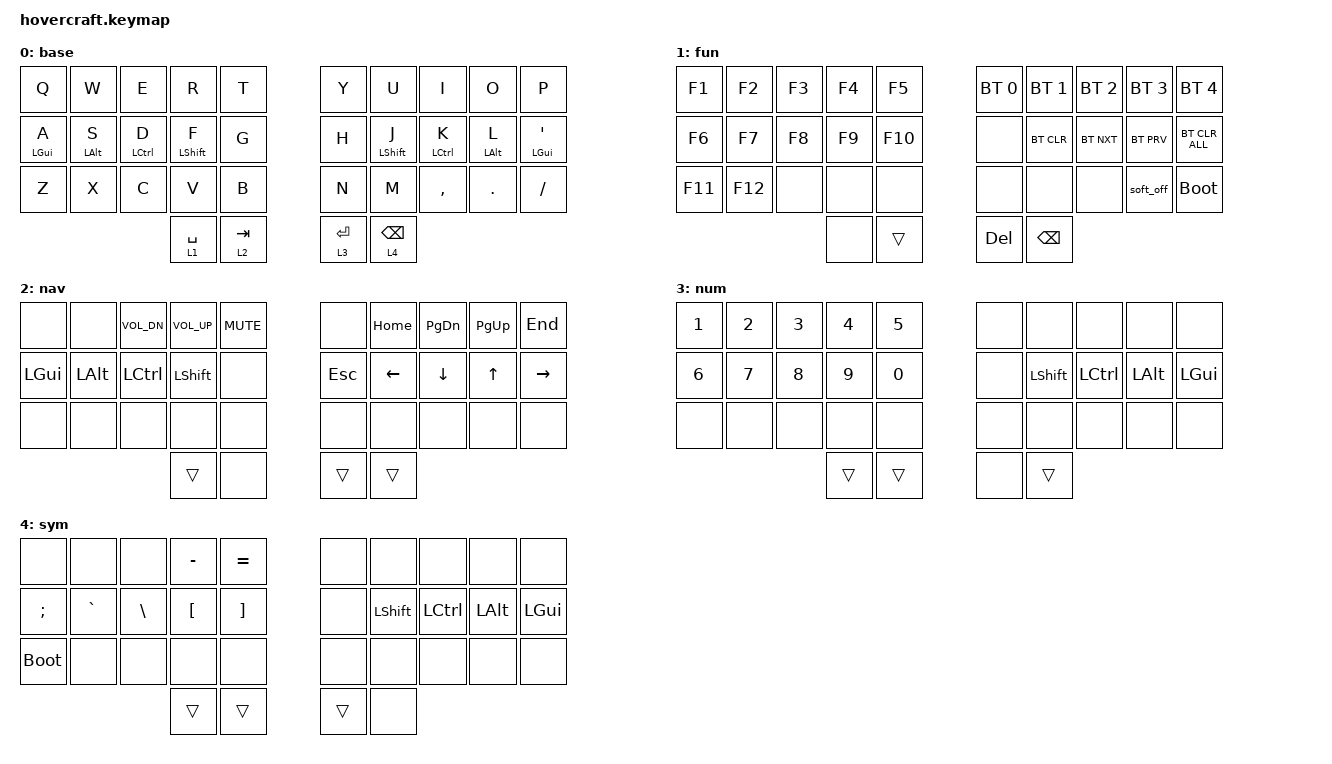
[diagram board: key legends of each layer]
/*
 * Copyright (c) 2025 The ZMK Contributors
 *
 * SPDX-License-Identifier: MIT
 */

/* layout: {ortho_layout: {split: true, rows: 3, columns: 5, thumbs: 2}} */


#include <behaviors.dtsi>
#include <dt-bindings/zmk/keys.h>
#include <dt-bindings/zmk/bt.h>

&soft_off {
    hold-time-ms = <5000>; // Only turn off it the key is held for 5 seconds or longer.
};

/ {
    keymap {
        compatible = "zmk,keymap";

        base {
            bindings = <
                &kp Q       &kp W       &kp E       &kp R        &kp T              &kp Y           &kp U           &kp I           &kp O           &kp P
                &mt LGUI A  &mt LALT S  &mt LCTRL D &mt LSHFT F  &kp G              &kp H           &mt LSHFT J     &mt LCTRL K     &mt LALT L      &mt LGUI SQT
                &kp Z       &kp X       &kp C       &kp V        &kp B              &kp N           &kp M           &kp COMMA       &kp DOT         &kp SLASH
                                                    &lt 1 SPACE  &lt 2 TAB          &lt 3 ENTER     &lt 4 BSPC
            >;
        };

        fun {
            bindings = <
                &kp F1      &kp F2      &kp F3      &kp F4      &kp F5              &bt BT_SEL 0    &bt BT_SEL 1    &bt BT_SEL 2    &bt BT_SEL 3    &bt BT_SEL 4
                &kp F6      &kp F7      &kp F8      &kp F9      &kp F10             &none           &bt BT_CLR      &bt BT_NXT      &bt BT_PRV      &bt BT_CLR_ALL
                &kp F11     &kp F12     &none       &none       &none               &none           &none           &none           &soft_off       &bootloader
                                                    &none       &trans              &kp DEL         &kp BSPC
            >;
        };

        nav {
            bindings = <
                &none       &none       &kp C_VOL_DN    &kp C_VOL_UP    &kp C_MUTE          &none           &kp HOME        &kp PG_DN       &kp PG_UP       &kp END
                &kp LGUI    &kp LALT    &kp LCTRL       &kp LSHFT       &none               &kp ESC         &kp LEFT        &kp DOWN        &kp UP          &kp RIGHT
                &none       &none       &none           &none           &none               &none           &none           &none           &none           &none
                                                        &trans          &none               &trans          &trans 
            >;
        };

        num {
            bindings = <
                &kp N1      &kp N2      &kp N3      &kp N4      &kp N5              &none           &none           &none           &none           &none
                &kp N6      &kp N7      &kp N8      &kp N9      &kp N0              &none           &kp LSHFT       &kp LCTRL       &kp LALT        &kp LGUI
                &none       &none       &none       &none       &none               &none           &none           &none           &none           &none
                                                    &trans      &trans              &none           &trans 
            >;
        };

        sym {
            bindings = <
                &none       &none       &none       &kp MINUS   &kp EQUAL           &none           &none           &none           &none           &none
                &kp SEMI    &kp GRAVE   &kp BSLH    &kp LBKT    &kp RBKT            &none           &kp LSHFT       &kp LCTRL       &kp LALT        &kp LGUI
                &bootloader &none       &none       &none       &none               &none           &none           &none           &none           &none
                                                    &trans      &trans              &trans          &none 
            >;
        };

    };
 };
